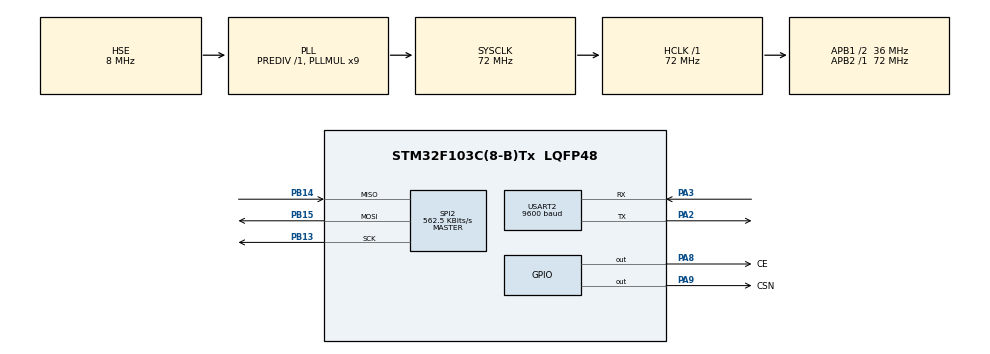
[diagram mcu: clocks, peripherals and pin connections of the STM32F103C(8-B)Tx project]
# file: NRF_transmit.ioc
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Mcu.Family=STM32F1
Mcu.Name=STM32F103C(8-B)Tx
Mcu.Package=LQFP48
NVIC.PriorityGroup=NVIC_PRIORITYGROUP_4
PA13.Mode=Serial_Wire
PA13.Signal=SYS_JTMS-SWDIO
PA14.Mode=Serial_Wire
PA14.Signal=SYS_JTCK-SWCLK
PA2.Mode=Asynchronous
PA2.Signal=USART2_TX
PA3.Mode=Asynchronous
PA3.Signal=USART2_RX
PA8.GPIO_Label=CE
PA8.Signal=GPIO_Output
PA9.GPIO_Label=CSN
PA9.Signal=GPIO_Output
PB13.Mode=Full_Duplex_Master
PB13.Signal=SPI2_SCK
PB14.Mode=Full_Duplex_Master
PB14.Signal=SPI2_MISO
PB15.Mode=Full_Duplex_Master
PB15.Signal=SPI2_MOSI
PD0-OSC_IN.Mode=HSE-External-Oscillator
PD0-OSC_IN.Signal=RCC_OSC_IN
PD1-OSC_OUT.Mode=HSE-External-Oscillator
PD1-OSC_OUT.Signal=RCC_OSC_OUT
ProjectManager.HeapSize=0x200
ProjectManager.StackSize=0x400
ProjectManager.TargetToolchain=STM32CubeIDE
RCC.AHBFreq_Value=72000000
RCC.APB1CLKDivider=RCC_HCLK_DIV2
RCC.APB1Freq_Value=36000000
RCC.APB1TimFreq_Value=72000000
RCC.APB2Freq_Value=72000000
RCC.APB2TimFreq_Value=72000000
RCC.HCLKFreq_Value=72000000
RCC.PLLMUL=RCC_PLL_MUL9
RCC.PLLSourceVirtual=RCC_PLLSOURCE_HSE
RCC.SYSCLKFreq_VALUE=72000000
RCC.SYSCLKSource=RCC_SYSCLKSOURCE_PLLCLK
RCC.USBFreq_Value=72000000
SPI2.BaudRatePrescaler=SPI_BAUDRATEPRESCALER_64
SPI2.CalculateBaudRate=562.5 KBits/s
SPI2.Direction=SPI_DIRECTION_2LINES
SPI2.Mode=SPI_MODE_MASTER
SPI2.VirtualType=VM_MASTER
USART2.BaudRate=9600
USART2.VirtualMode=VM_ASYNC
board=custom

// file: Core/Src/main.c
/* USER CODE BEGIN Header */
/**
  ******************************************************************************
  * @file           : main.c
  * @brief          : Main program body
  ******************************************************************************
  * @attention
  *
  * <h2><center>&copy; Copyright (c) 2020 STMicroelectronics.
  * All rights reserved.</center></h2>
  *
  * This software component is licensed by ST under BSD 3-Clause license,
  * the "License"; You may not use this file except in compliance with the
  * License. You may obtain a copy of the License at:
  *                        opensource.org/licenses/BSD-3-Clause
  *
  ******************************************************************************
  */
/* USER CODE END Header */

#include "main.h"

/* USER CODE BEGIN Includes */
#include "MY_NRF24.h"
/* USER CODE END Includes */

SPI_HandleTypeDef hspi2;

UART_HandleTypeDef huart2;

void SystemClock_Config(void);
static void MX_GPIO_Init(void);
static void MX_USART2_UART_Init(void);
static void MX_SPI2_Init(void);

/* USER CODE BEGIN 0 */
uint64_t TxpipeAddrs = 0x11223344AA;
// to be filled with readings from DAQ
uint16_t myTxData[8] = {150,100,110,90,30,9,3,10};
char AckPayload[32];
/* USER CODE END 0 */

int main(void)
{

  /* MCU Configuration--------------------------------------------------------*/

  /* Reset of all peripherals, Initializes the Flash interface and the Systick. */
  HAL_Init();

  /* Configure the system clock */
  SystemClock_Config();

  /* Initialize all configured peripherals */
  MX_GPIO_Init();
  MX_USART2_UART_Init();
  MX_SPI2_Init();
  /* USER CODE BEGIN 2 */
  NRF24_begin(GPIOA, CSN_Pin, CE_Pin, hspi2);
  nrf24_DebugUART_Init(huart2);

	printRadioSettings();

	//**** TRANSMIT - ACK ****//
	NRF24_stopListening();
	NRF24_openWritingPipe(TxpipeAddrs);
	NRF24_setAutoAck(true);
	NRF24_setChannel(52);
	NRF24_setPayloadSize(32);
	NRF24_enableDynamicPayloads();
	NRF24_enableAckPayload();

  /* USER CODE END 2 */

  /* Infinite loop */
  while (1)
  {

    /* USER CODE BEGIN 3 */
		if(NRF24_write(myTxData,16))
		{

			HAL_UART_Transmit(&huart2, (uint8_t *)"Transmitted Successfully\r\n", strlen("Transmitted Successfully\r\n"), 50);
			if(NRF24_read(AckPayload,32))
			{

				HAL_UART_Transmit(&huart2, (uint8_t *)AckPayload,strlen(AckPayload),20);
			}

		}
		else
		{
			HAL_UART_Transmit(&huart2, (uint8_t *)"Transmission failed\r\n", strlen("Transmitted failed\r\n"), 50);
		}

		HAL_Delay(1000);

  }

  /* USER CODE END 3 */
}

void SystemClock_Config(void)
{
  RCC_OscInitTypeDef RCC_OscInitStruct = {0};
  RCC_ClkInitTypeDef RCC_ClkInitStruct = {0};

  /** Initializes the CPU, AHB and APB busses clocks
  */
  RCC_OscInitStruct.OscillatorType = RCC_OSCILLATORTYPE_HSE;
  RCC_OscInitStruct.HSEState = RCC_HSE_ON;
  RCC_OscInitStruct.HSEPredivValue = RCC_HSE_PREDIV_DIV1;
  RCC_OscInitStruct.HSIState = RCC_HSI_ON;
  RCC_OscInitStruct.PLL.PLLState = RCC_PLL_ON;
  RCC_OscInitStruct.PLL.PLLSource = RCC_PLLSOURCE_HSE;
  RCC_OscInitStruct.PLL.PLLMUL = RCC_PLL_MUL9;
  if (HAL_RCC_OscConfig(&RCC_OscInitStruct) != HAL_OK)
  {
    Error_Handler();
  }
  /** Initializes the CPU, AHB and APB busses clocks
  */
  RCC_ClkInitStruct.ClockType = RCC_CLOCKTYPE_HCLK|RCC_CLOCKTYPE_SYSCLK
                              |RCC_CLOCKTYPE_PCLK1|RCC_CLOCKTYPE_PCLK2;
  RCC_ClkInitStruct.SYSCLKSource = RCC_SYSCLKSOURCE_PLLCLK;
  RCC_ClkInitStruct.AHBCLKDivider = RCC_SYSCLK_DIV1;
  RCC_ClkInitStruct.APB1CLKDivider = RCC_HCLK_DIV2;
  RCC_ClkInitStruct.APB2CLKDivider = RCC_HCLK_DIV1;

  if (HAL_RCC_ClockConfig(&RCC_ClkInitStruct, FLASH_LATENCY_2) != HAL_OK)
  {
    Error_Handler();
  }
}

static void MX_SPI2_Init(void)
{

  /* SPI2 parameter configuration*/
  hspi2.Instance = SPI2;
  hspi2.Init.Mode = SPI_MODE_MASTER;
  hspi2.Init.Direction = SPI_DIRECTION_2LINES;
  hspi2.Init.DataSize = SPI_DATASIZE_8BIT;
  hspi2.Init.CLKPolarity = SPI_POLARITY_LOW;
  hspi2.Init.CLKPhase = SPI_PHASE_1EDGE;
  hspi2.Init.NSS = SPI_NSS_SOFT;
  hspi2.Init.BaudRatePrescaler = SPI_BAUDRATEPRESCALER_64;
  hspi2.Init.FirstBit = SPI_FIRSTBIT_MSB;
  hspi2.Init.TIMode = SPI_TIMODE_DISABLE;
  hspi2.Init.CRCCalculation = SPI_CRCCALCULATION_DISABLE;
  hspi2.Init.CRCPolynomial = 10;
  if (HAL_SPI_Init(&hspi2) != HAL_OK)
  {
    Error_Handler();
  }

}

static void MX_USART2_UART_Init(void)
{

  huart2.Instance = USART2;
  huart2.Init.BaudRate = 9600;
  huart2.Init.WordLength = UART_WORDLENGTH_8B;
  huart2.Init.StopBits = UART_STOPBITS_1;
  huart2.Init.Parity = UART_PARITY_NONE;
  huart2.Init.Mode = UART_MODE_TX_RX;
  huart2.Init.HwFlowCtl = UART_HWCONTROL_NONE;
  huart2.Init.OverSampling = UART_OVERSAMPLING_16;
  if (HAL_UART_Init(&huart2) != HAL_OK)
  {
    Error_Handler();
  }

}

static void MX_GPIO_Init(void)
{
  GPIO_InitTypeDef GPIO_InitStruct = {0};

  /* GPIO Ports Clock Enable */
  __HAL_RCC_GPIOD_CLK_ENABLE();
  __HAL_RCC_GPIOA_CLK_ENABLE();
  __HAL_RCC_GPIOB_CLK_ENABLE();

  /*Configure GPIO pin Output Level */
  HAL_GPIO_WritePin(GPIOA, CE_Pin|CSN_Pin, GPIO_PIN_RESET);

  /*Configure GPIO pins : CE_Pin CSN_Pin */
  GPIO_InitStruct.Pin = CE_Pin|CSN_Pin;
  GPIO_InitStruct.Mode = GPIO_MODE_OUTPUT_PP;
  GPIO_InitStruct.Pull = GPIO_NOPULL;
  GPIO_InitStruct.Speed = GPIO_SPEED_FREQ_LOW;
  HAL_GPIO_Init(GPIOA, &GPIO_InitStruct);

}

void Error_Handler(void)
{
}

/************************ (C) COPYRIGHT STMicroelectronics *****END OF FILE****/
